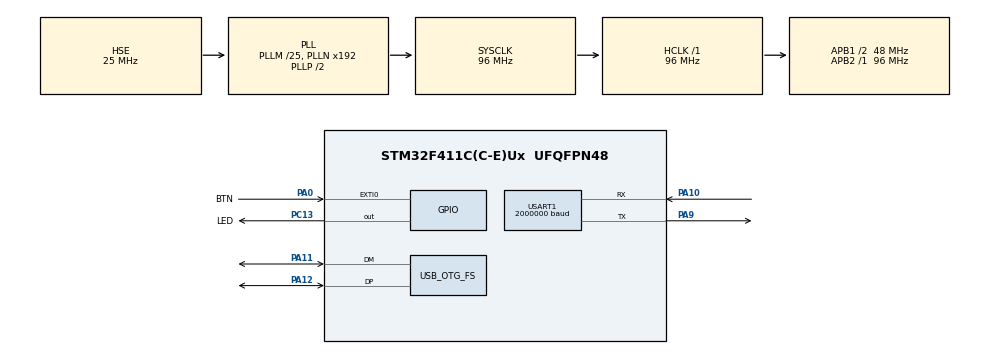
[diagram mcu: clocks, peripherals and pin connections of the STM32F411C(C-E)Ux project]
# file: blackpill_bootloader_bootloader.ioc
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Mcu.Family=STM32F4
Mcu.Name=STM32F411C(C-E)Ux
Mcu.Package=UFQFPN48
NVIC.EXTI0_IRQn=true\:0\:0\:false\:false\:true\:true\:true\:true
NVIC.OTG_FS_IRQn=true\:0\:0\:false\:false\:true\:false\:true\:true
NVIC.PriorityGroup=NVIC_PRIORITYGROUP_4
PA0-WKUP.GPIO_Label=BTN
PA0-WKUP.GPIO_ModeDefaultEXTI=GPIO_MODE_IT_RISING_FALLING
PA0-WKUP.GPIO_PuPd=GPIO_PULLUP
PA0-WKUP.Signal=GPXTI0
PA10.Mode=Asynchronous
PA10.Signal=USART1_RX
PA11.Mode=Device_Only
PA11.Signal=USB_OTG_FS_DM
PA12.Mode=Device_Only
PA12.Signal=USB_OTG_FS_DP
PA13.Mode=Trace_Asynchronous_SW
PA13.Signal=SYS_JTMS-SWDIO
PA14.Mode=Trace_Asynchronous_SW
PA14.Signal=SYS_JTCK-SWCLK
PA9.Mode=Asynchronous
PA9.Signal=USART1_TX
PB3.Mode=Trace_Asynchronous_SW
PB3.Signal=SYS_JTDO-SWO
PC13-ANTI_TAMP.GPIO_Label=LED
PC13-ANTI_TAMP.GPIO_ModeDefaultOutputPP=GPIO_MODE_OUTPUT_OD
PC13-ANTI_TAMP.GPIO_PuPd=GPIO_NOPULL
PC13-ANTI_TAMP.PinState=GPIO_PIN_SET
PC13-ANTI_TAMP.Signal=GPIO_Output
PH0\ -\ OSC_IN.Mode=HSE-External-Oscillator
PH0\ -\ OSC_IN.Signal=RCC_OSC_IN
PH1\ -\ OSC_OUT.Mode=HSE-External-Oscillator
PH1\ -\ OSC_OUT.Signal=RCC_OSC_OUT
ProjectManager.HeapSize=0x200
ProjectManager.StackSize=0x400
ProjectManager.TargetToolchain=STM32CubeIDE
RCC.48MHZClocksFreq_Value=48000000
RCC.AHBFreq_Value=96000000
RCC.APB1CLKDivider=RCC_HCLK_DIV2
RCC.APB1Freq_Value=48000000
RCC.APB1TimFreq_Value=96000000
RCC.APB2Freq_Value=96000000
RCC.APB2TimFreq_Value=96000000
RCC.CortexFreq_Value=96000000
RCC.HCLKFreq_Value=96000000
RCC.HSE_VALUE=25000000
RCC.HSI_VALUE=16000000
RCC.LSE_VALUE=32768
RCC.PLLM=25
RCC.SYSCLKFreq_VALUE=96000000
RCC.SYSCLKSource=RCC_SYSCLKSOURCE_PLLCLK
RCC.VCOOutputFreq_Value=192000000
USART1.BaudRate=2000000
USART1.VirtualMode=VM_ASYNC
USB_DEVICE.CLASS_NAME_FS=DFU
USB_DEVICE.MANUFACTURER_STRING=STM32World
USB_DEVICE.PRODUCT_STRING_DFU_FS=Firmware Update
USB_DEVICE.USBD_DFU_APP_DEFAULT_ADD=0x08010000
USB_DEVICE.USBD_DFU_MEDIA=@Internal Flash   /0x08000000/04*016Ka,01*064Kg,03*128Kg
USB_DEVICE.VirtualMode=Dfu
USB_DEVICE.VirtualModeFS=Dfu_FS
USB_OTG_FS.VirtualMode=Device_Only
VP_USB_DEVICE_VS_USB_DEVICE_DFU_FS.Mode=DFU_FS
board=custom

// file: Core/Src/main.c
/* USER CODE BEGIN Header */
/**
 ******************************************************************************
 * @file           : main.c
 * @brief          : Main program body
 ******************************************************************************
 * @attention
 *
 * Copyright (c) 2024 Lars Boegild Thomsen <lth@stm32world.com>
 * All rights reserved.
 *
 * This software is licensed under terms that can be found in the LICENSE file
 * in the root directory of this software component.
 * If no LICENSE file comes with this software, it is provided AS-IS.
 *
 ******************************************************************************
 */
/* USER CODE END Header */
#include "main.h"
#include "usb_device.h"

/* USER CODE BEGIN Includes */
#include <stdio.h>
/* USER CODE END Includes */

/* USER CODE BEGIN PTD */
typedef void (*pFunction)(void);
/* USER CODE END PTD */

/* USER CODE BEGIN PM */
#define DFU_BOOT_FLAG 0xDEADBEEF
/* USER CODE END PM */

UART_HandleTypeDef huart1;

/* USER CODE BEGIN PV */
extern int _bflag;
uint32_t *dfu_boot_flag;
pFunction JumpToApplication;
uint32_t JumpAddress;
/* USER CODE END PV */

void SystemClock_Config(void);
static void MX_GPIO_Init(void);
static void MX_USART1_UART_Init(void);

/* USER CODE BEGIN 0 */

// Send printf to uart1
int _write(int fd, char *ptr, int len) {
    HAL_StatusTypeDef hstatus;

    if (fd == 1 || fd == 2) {
        hstatus = HAL_UART_Transmit(&huart1, (uint8_t*) ptr, len,
        HAL_MAX_DELAY);
        if (hstatus == HAL_OK)
            return len;
        else
            return -1;
    }
    return -1;
}

void HAL_GPIO_EXTI_Callback(uint16_t GPIO_Pin) {
    if (GPIO_Pin == BTN_Pin) // If the button
    {
        HAL_NVIC_SystemReset();
    }
}

/* USER CODE END 0 */

int main(void)
{

  /* USER CODE BEGIN 1 */

    // We handle all this before the HAL Libraries have been initialized.
    dfu_boot_flag = (uint32_t*) (&_bflag); // set in linker script

    if (*dfu_boot_flag != DFU_BOOT_FLAG) {

        /* Test if user code is programmed starting from address 0x08008000 */
        if (((*(__IO uint32_t*) USBD_DFU_APP_DEFAULT_ADD) & 0x2FFC0000)
                == 0x20000000) {

            /* Jump to user application */
            JumpAddress = *(__IO uint32_t*) (USBD_DFU_APP_DEFAULT_ADD + 4);
            JumpToApplication = (pFunction) JumpAddress;

            /* Initialize user application's Stack Pointer */
            __set_MSP(*(__IO uint32_t*) USBD_DFU_APP_DEFAULT_ADD);
            JumpToApplication();
        }

    }

    *dfu_boot_flag = 0; // So next boot won't be affected

  /* USER CODE END 1 */

  /* MCU Configuration--------------------------------------------------------*/

  /* Reset of all peripherals, Initializes the Flash interface and the Systick. */
  HAL_Init();

  /* Configure the system clock */
  SystemClock_Config();

  /* Initialize all configured peripherals */
  MX_GPIO_Init();
  MX_USART1_UART_Init();
  MX_USB_DEVICE_Init();
  /* USER CODE BEGIN 2 */

    printf("\n\n\n----------\nBootloader\n");

  /* USER CODE END 2 */

  /* Infinite loop */
  /* USER CODE BEGIN WHILE */

    uint32_t now = 0, next_blink = 100;

    while (1) {

        now = uwTick;

        if (now >= next_blink) {
            HAL_GPIO_TogglePin(LED_GPIO_Port, LED_Pin);
            next_blink = now + 100;
        }

    /* USER CODE END WHILE */

    }
}

void SystemClock_Config(void)
{
  RCC_OscInitTypeDef RCC_OscInitStruct = {0};
  RCC_ClkInitTypeDef RCC_ClkInitStruct = {0};

  /** Configure the main internal regulator output voltage
  */
  __HAL_RCC_PWR_CLK_ENABLE();
  __HAL_PWR_VOLTAGESCALING_CONFIG(PWR_REGULATOR_VOLTAGE_SCALE1);

  /** Initializes the RCC Oscillators according to the specified parameters
  * in the RCC_OscInitTypeDef structure.
  */
  RCC_OscInitStruct.OscillatorType = RCC_OSCILLATORTYPE_HSE;
  RCC_OscInitStruct.HSEState = RCC_HSE_ON;
  RCC_OscInitStruct.PLL.PLLState = RCC_PLL_ON;
  RCC_OscInitStruct.PLL.PLLSource = RCC_PLLSOURCE_HSE;
  RCC_OscInitStruct.PLL.PLLM = 25;
  RCC_OscInitStruct.PLL.PLLN = 192;
  RCC_OscInitStruct.PLL.PLLP = RCC_PLLP_DIV2;
  RCC_OscInitStruct.PLL.PLLQ = 4;
  if (HAL_RCC_OscConfig(&RCC_OscInitStruct) != HAL_OK)
  {
    Error_Handler();
  }

  /** Initializes the CPU, AHB and APB buses clocks
  */
  RCC_ClkInitStruct.ClockType = RCC_CLOCKTYPE_HCLK|RCC_CLOCKTYPE_SYSCLK
                              |RCC_CLOCKTYPE_PCLK1|RCC_CLOCKTYPE_PCLK2;
  RCC_ClkInitStruct.SYSCLKSource = RCC_SYSCLKSOURCE_PLLCLK;
  RCC_ClkInitStruct.AHBCLKDivider = RCC_SYSCLK_DIV1;
  RCC_ClkInitStruct.APB1CLKDivider = RCC_HCLK_DIV2;
  RCC_ClkInitStruct.APB2CLKDivider = RCC_HCLK_DIV1;

  if (HAL_RCC_ClockConfig(&RCC_ClkInitStruct, FLASH_LATENCY_3) != HAL_OK)
  {
    Error_Handler();
  }
}

static void MX_USART1_UART_Init(void)
{

  huart1.Instance = USART1;
  huart1.Init.BaudRate = 2000000;
  huart1.Init.WordLength = UART_WORDLENGTH_8B;
  huart1.Init.StopBits = UART_STOPBITS_1;
  huart1.Init.Parity = UART_PARITY_NONE;
  huart1.Init.Mode = UART_MODE_TX_RX;
  huart1.Init.HwFlowCtl = UART_HWCONTROL_NONE;
  huart1.Init.OverSampling = UART_OVERSAMPLING_16;
  if (HAL_UART_Init(&huart1) != HAL_OK)
  {
    Error_Handler();
  }

}

static void MX_GPIO_Init(void)
{
  GPIO_InitTypeDef GPIO_InitStruct = {0};

  /* GPIO Ports Clock Enable */
  __HAL_RCC_GPIOC_CLK_ENABLE();
  __HAL_RCC_GPIOH_CLK_ENABLE();
  __HAL_RCC_GPIOA_CLK_ENABLE();
  __HAL_RCC_GPIOB_CLK_ENABLE();

  /*Configure GPIO pin Output Level */
  HAL_GPIO_WritePin(LED_GPIO_Port, LED_Pin, GPIO_PIN_SET);

  /*Configure GPIO pin : LED_Pin */
  GPIO_InitStruct.Pin = LED_Pin;
  GPIO_InitStruct.Mode = GPIO_MODE_OUTPUT_OD;
  GPIO_InitStruct.Pull = GPIO_NOPULL;
  GPIO_InitStruct.Speed = GPIO_SPEED_FREQ_LOW;
  HAL_GPIO_Init(LED_GPIO_Port, &GPIO_InitStruct);

  /*Configure GPIO pin : BTN_Pin */
  GPIO_InitStruct.Pin = BTN_Pin;
  GPIO_InitStruct.Mode = GPIO_MODE_IT_RISING_FALLING;
  GPIO_InitStruct.Pull = GPIO_PULLUP;
  HAL_GPIO_Init(BTN_GPIO_Port, &GPIO_InitStruct);

  /* EXTI interrupt init*/
  HAL_NVIC_SetPriority(EXTI0_IRQn, 0, 0);
  HAL_NVIC_EnableIRQ(EXTI0_IRQn);

}

void Error_Handler(void)
{
    __disable_irq();
    while (1)
    {
    }
}
